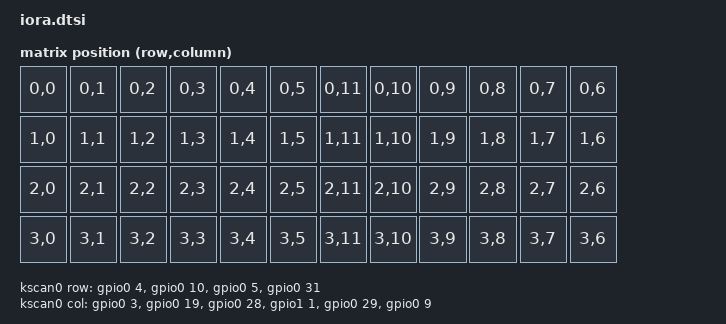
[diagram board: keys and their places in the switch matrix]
#include <dt-bindings/zmk/matrix_transform.h>
#include <physical_layouts.dtsi>
#include <zephyr/dt-bindings/input/input-event-codes.h>
#include "iora-layouts.dtsi"

/ {
    chosen {
        zmk,physical-layout = &iora_layout;
        zmk,battery = &non_lipo_battery;
    };

    kscan0: kscan {
        compatible = "zmk,kscan-gpio-matrix";
        wakeup-source;
        diode-direction = "col2row";
        row-gpios = <&gpio0 4 (GPIO_ACTIVE_HIGH | GPIO_PULL_DOWN)>,
                    <&gpio0 10 (GPIO_ACTIVE_HIGH | GPIO_PULL_DOWN)>,
                    <&gpio0 5 (GPIO_ACTIVE_HIGH | GPIO_PULL_DOWN)>,
                    <&gpio0 31 (GPIO_ACTIVE_HIGH | GPIO_PULL_DOWN)>;
        col-gpios = <&gpio0 3 GPIO_ACTIVE_HIGH>,
                    <&gpio0 19 GPIO_ACTIVE_HIGH>,
                    <&gpio0 28 GPIO_ACTIVE_HIGH>,
                    <&gpio1 1 GPIO_ACTIVE_HIGH>,
                    <&gpio0 29 GPIO_ACTIVE_HIGH>,
                    <&gpio0 9 GPIO_ACTIVE_HIGH>;
    };

    iora_transform: matrix_transform {
        compatible = "zmk,matrix-transform";
        rows = <4>;
        columns = <12>;
        // The right PCB's column order is mirrored.
        map = <
            RC(0,0) RC(0,1) RC(0,2) RC(0,3) RC(0,4) RC(0,5)    RC(0,11) RC(0,10) RC(0,9) RC(0,8) RC(0,7) RC(0,6)
            RC(1,0) RC(1,1) RC(1,2) RC(1,3) RC(1,4) RC(1,5)    RC(1,11) RC(1,10) RC(1,9) RC(1,8) RC(1,7) RC(1,6)
            RC(2,0) RC(2,1) RC(2,2) RC(2,3) RC(2,4) RC(2,5)    RC(2,11) RC(2,10) RC(2,9) RC(2,8) RC(2,7) RC(2,6)
            RC(3,0) RC(3,1) RC(3,2) RC(3,3) RC(3,4) RC(3,5)    RC(3,11) RC(3,10) RC(3,9) RC(3,8) RC(3,7) RC(3,6)
        >;
    };

    non_lipo_battery: non-lipo-battery {
        compatible = "zmk,non-lipo-battery";
        io-channels = <&adc 0>; // UNREG on P0.02 (AIN0).
    };

    split_inputs {
        #address-cells = <1>;
        #size-cells = <0>;

        right_trackball_split: right-trackball@0 {
            compatible = "zmk,input-split";
            reg = <0>;
        };
    };
};

&pinctrl {
    iora_spi_default: iora_spi_default {
        group1 {
            psels = <NRF_PSEL(SPIM_SCK, 1, 14)>,
                    <NRF_PSEL(SPIM_MOSI, 1, 7)>,
                    <NRF_PSEL(SPIM_MISO, 1, 7)>;
        };
    };

    iora_spi_sleep: iora_spi_sleep {
        group1 {
            psels = <NRF_PSEL(SPIM_SCK, 1, 14)>,
                    <NRF_PSEL(SPIM_MOSI, 1, 7)>,
                    <NRF_PSEL(SPIM_MISO, 1, 7)>;
            low-power-enable;
        };
    };
};

&xiao_i2c {
    status = "disabled";
};

&spi0 {
    compatible = "nordic,nrf-spim";
    status = "okay";
    cs-gpios = <&gpio1 15 GPIO_ACTIVE_LOW>;
    pinctrl-0 = <&iora_spi_default>;
    pinctrl-1 = <&iora_spi_sleep>;
    pinctrl-names = "default", "sleep";

    trackball: trackball@0 {
        compatible = "pixart,pmw3610";
        reg = <0>;
        spi-max-frequency = <2000000>;
        irq-gpios = <&gpio1 5 (GPIO_ACTIVE_LOW | GPIO_PULL_UP)>;
        rst-gpios = <&gpio1 13 GPIO_ACTIVE_LOW>;
        cpi = <800>;
        evt-type = <INPUT_EV_REL>;
        x-input-code = <INPUT_REL_X>;
        y-input-code = <INPUT_REL_Y>;
        // Verify the initial axis swap against the installed sensor orientation.
        xy-swap;
    };
};

&vbatt {
    status = "disabled"; // P0.31 is used by row3.
};
